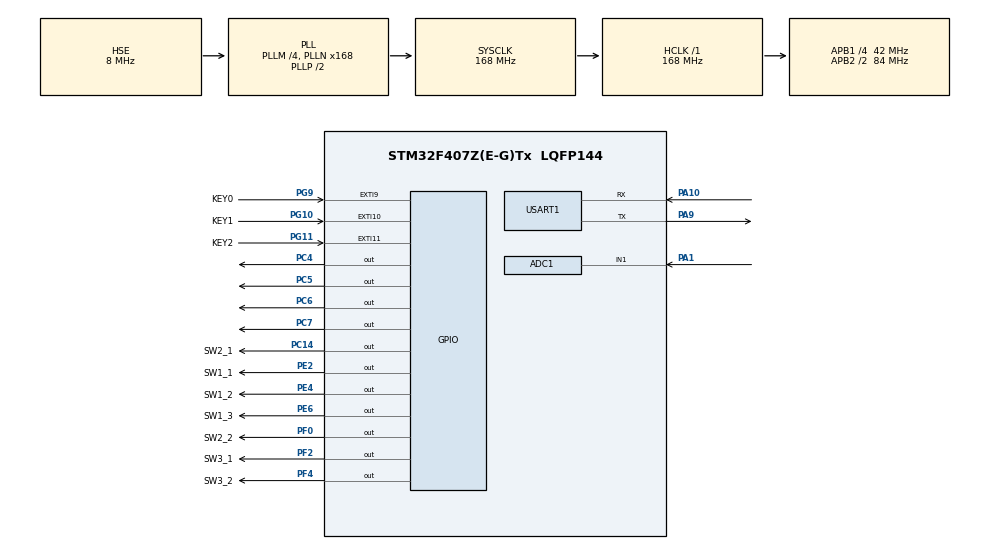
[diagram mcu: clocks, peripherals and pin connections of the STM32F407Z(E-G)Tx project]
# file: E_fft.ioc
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ADC1.Channel-0\#ChannelRegularConversion=ADC_CHANNEL_1
ADC1.ClockPrescaler=ADC_CLOCK_SYNC_PCLK_DIV4
ADC1.ContinuousConvMode=DISABLE
ADC1.DMAContinuousRequests=ENABLE
ADC1.ExternalTrigConv=ADC_EXTERNALTRIGCONV_T2_TRGO
ADC1.NbrOfConversion=1
ADC1.NbrOfConversionFlag=1
ADC1.Rank-0\#ChannelRegularConversion=1
ADC1.Resolution=ADC_RESOLUTION_12B
ADC1.SamplingTime-0\#ChannelRegularConversion=ADC_SAMPLETIME_3CYCLES
ADC1.ScanConvMode=ENABLE
ADC1.master=1
Dma.ADC1.0.Direction=DMA_PERIPH_TO_MEMORY
Dma.ADC1.0.FIFOMode=DMA_FIFOMODE_DISABLE
Dma.ADC1.0.Instance=DMA2_Stream0
Dma.ADC1.0.MemDataAlignment=DMA_MDATAALIGN_HALFWORD
Dma.ADC1.0.MemInc=DMA_MINC_ENABLE
Dma.ADC1.0.Mode=DMA_CIRCULAR
Dma.ADC1.0.PeriphDataAlignment=DMA_PDATAALIGN_HALFWORD
Dma.ADC1.0.PeriphInc=DMA_PINC_DISABLE
Dma.ADC1.0.Priority=DMA_PRIORITY_LOW
Dma.Request0=ADC1
Mcu.Family=STM32F4
Mcu.Name=STM32F407Z(E-G)Tx
Mcu.Package=LQFP144
NVIC.ADC_IRQn=true\:0\:0\:true\:false\:true\:true\:true
NVIC.DMA2_Stream0_IRQn=true\:0\:0\:false\:false\:true\:false\:true
NVIC.EXTI15_10_IRQn=true\:2\:0\:true\:false\:true\:true\:true
NVIC.EXTI9_5_IRQn=true\:2\:0\:true\:false\:true\:true\:true
NVIC.PriorityGroup=NVIC_PRIORITYGROUP_4
NVIC.TIM1_UP_TIM10_IRQn=true\:1\:0\:true\:false\:true\:true\:true
PA1.Signal=ADCx_IN1
PA10.Mode=Asynchronous
PA10.Signal=USART1_RX
PA13.Mode=Serial_Wire
PA13.Signal=SYS_JTMS-SWDIO
PA14.Mode=Serial_Wire
PA14.Signal=SYS_JTCK-SWCLK
PA9.Mode=Asynchronous
PA9.Signal=USART1_TX
PC14-OSC32_IN.GPIO_Label=SW2_1
PC14-OSC32_IN.PinState=GPIO_PIN_RESET
PC14-OSC32_IN.Signal=GPIO_Output
PC4.PinState=GPIO_PIN_SET
PC4.Signal=GPIO_Output
PC5.PinState=GPIO_PIN_RESET
PC5.Signal=GPIO_Output
PC6.PinState=GPIO_PIN_SET
PC6.Signal=GPIO_Output
PC7.PinState=GPIO_PIN_SET
PC7.Signal=GPIO_Output
PE2.GPIO_Label=SW1_1
PE2.PinState=GPIO_PIN_RESET
PE2.Signal=GPIO_Output
PE4.GPIO_Label=SW1_2
PE4.PinState=GPIO_PIN_RESET
PE4.Signal=GPIO_Output
PE6.GPIO_Label=SW1_3
PE6.PinState=GPIO_PIN_RESET
PE6.Signal=GPIO_Output
PF0.GPIO_Label=SW2_2
PF0.PinState=GPIO_PIN_RESET
PF0.Signal=GPIO_Output
PF2.GPIO_Label=SW3_1
PF2.PinState=GPIO_PIN_RESET
PF2.Signal=GPIO_Output
PF4.GPIO_Label=SW3_2
PF4.PinState=GPIO_PIN_RESET
PF4.Signal=GPIO_Output
PG10.GPIO_Label=KEY1
PG10.GPIO_ModeDefaultEXTI=GPIO_MODE_IT_FALLING
PG10.GPIO_PuPd=GPIO_PULLUP
PG10.Signal=GPXTI10
PG11.GPIO_Label=KEY2
PG11.GPIO_ModeDefaultEXTI=GPIO_MODE_IT_FALLING
PG11.GPIO_PuPd=GPIO_PULLUP
PG11.Signal=GPXTI11
PG9.GPIO_Label=KEY0
PG9.GPIO_ModeDefaultEXTI=GPIO_MODE_IT_FALLING
PG9.GPIO_PuPd=GPIO_PULLUP
PG9.Signal=GPXTI9
PH0-OSC_IN.Mode=HSE-External-Oscillator
PH0-OSC_IN.Signal=RCC_OSC_IN
PH1-OSC_OUT.Mode=HSE-External-Oscillator
PH1-OSC_OUT.Signal=RCC_OSC_OUT
ProjectManager.HeapSize=0x200
ProjectManager.StackSize=0x400
ProjectManager.TargetToolchain=MDK-ARM V5
RCC.48MHZClocksFreq_Value=84000000
RCC.AHBFreq_Value=168000000
RCC.APB1CLKDivider=RCC_HCLK_DIV4
RCC.APB1Freq_Value=42000000
RCC.APB1TimFreq_Value=84000000
RCC.APB2CLKDivider=RCC_HCLK_DIV2
RCC.APB2Freq_Value=84000000
RCC.APB2TimFreq_Value=168000000
RCC.CortexFreq_Value=168000000
RCC.HCLKFreq_Value=168000000
RCC.HSE_VALUE=8000000
RCC.HSI_VALUE=16000000
RCC.LSE_VALUE=32768
RCC.PLLM=4
RCC.PLLN=168
RCC.PLLSourceVirtual=RCC_PLLSOURCE_HSE
RCC.SYSCLKFreq_VALUE=168000000
RCC.SYSCLKSource=RCC_SYSCLKSOURCE_PLLCLK
RCC.VCOOutputFreq_Value=336000000
SH.ADCx_IN1.0=ADC1_IN1,IN1
TIM1.Period=999
TIM1.Prescaler=167
TIM2.Period=209
TIM2.Prescaler=24
TIM2.TIM_MasterOutputTrigger=TIM_TRGO_UPDATE
USART1.VirtualMode=VM_ASYNC
VP_TIM1_VS_ClockSourceINT.Mode=Internal
VP_TIM2_VS_ClockSourceINT.Mode=Internal
board=custom

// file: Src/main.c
/* USER CODE BEGIN Header */
/**
  ******************************************************************************
  * @file           : main.c
  * @brief          : Main program body
  ******************************************************************************
  * @attention
  *
  * <h2><center>&copy; Copyright (c) 2020 STMicroelectronics.
  * All rights reserved.</center></h2>
  *
  * This software component is licensed by ST under BSD 3-Clause license,
  * the "License"; You may not use this file except in compliance with the
  * License. You may obtain a copy of the License at:
  *                        opensource.org/licenses/BSD-3-Clause
  *
  ******************************************************************************
  */
/* USER CODE END Header */

#include "main.h"
#include "adc.h"
#include "dma.h"
#include "tim.h"
#include "usart.h"
#include "gpio.h"

/* USER CODE BEGIN Includes */
//#include "oled.h"
#include "arm_math.h"
#include "arm_const_structs.h"
#include "oled.h"
#include "sys.h"
#include "stdio.h"
/* USER CODE END Includes */

/* USER CODE BEGIN PV */

float32_t  	testInput_f32[NPT];	//fft输入数据
float32_t  	testOutput_f32[NPT];	//fft输出数据
float32_t  	testOutput[NPT];			//输出频谱
uint16_t	 	ADC_data[NPT] ;			//adc原始数据
uint8_t 	 	ADC_flag = 0;						//adc转换完成标志位
float32_t  	Uo[Hn+1];							//输出谐波幅值
float32_t  	THD;
uint8_t			dis_buff[20];
/* USER CODE END PV */

void SystemClock_Config(void);
/* USER CODE BEGIN PFP */

void arm_rfft_fast_f32_app(void) ;

/* USER CODE END PFP */

int main(void)
{

  /* MCU Configuration--------------------------------------------------------*/

  /* Reset of all peripherals, Initializes the Flash interface and the Systick. */
  HAL_Init();

  /* Configure the system clock */
  SystemClock_Config();

  /* Initialize all configured peripherals */
  MX_GPIO_Init();
  MX_DMA_Init();
  MX_ADC1_Init();
  MX_TIM2_Init();
  MX_USART1_UART_Init();
  MX_TIM1_Init();
  /* USER CODE BEGIN 2 */
	IIC_Init();		//初始化LED
	OLED_Init();
	HAL_TIM_Base_Start_IT(&htim1);
	HAL_TIM_Base_Start(&htim2);
	HAL_ADC_Start_DMA(&hadc1,(uint32_t *)ADC_data,1024);
	SW_Control(state_Array[0]);
//	arm_rfft_fast_f32_app();

	OLED_Refresh();//更新oled缓存
  /* USER CODE END 2 */

  /* Infinite loop */
  /* USER CODE BEGIN WHILE */
  while(1)
  {
//		PGout(4) = 0;
//		HAL_Delay(10);
//		PGout(4) = 1;
//		HAL_Delay(10);
    /* USER CODE END WHILE */

    /* USER CODE BEGIN 3 */
		display_distort (state);
		OLED_Refresh();//更新oled缓存
		if(ADC_flag == 1)
		{
			for (int x=0;x < 1024; x++)
			{
				testInput_f32[x] = (float)(ADC_data[x]*3.3/4096);
//				printf("%f\r\n",testInput_f32[x]);
			}
			arm_rfft_fast_f32_app();
			snprintf(dis_buff,sizeof(dis_buff),"THD:%2.2f%%   ",THD*100);
			OLED_ShowString(0,0,dis_buff,16);
			ADC_flag = 0;
		}
		else if(ADC_flag == 2)
		{
			HAL_TIM_Base_Start(&htim2);
			HAL_ADC_Start_DMA(&hadc1,(uint32_t *)ADC_data,1024);
		}
	}

  /* USER CODE END 3 */
}

void SystemClock_Config(void)
{
  RCC_OscInitTypeDef RCC_OscInitStruct = {0};
  RCC_ClkInitTypeDef RCC_ClkInitStruct = {0};

  /** Configure the main internal regulator output voltage
  */
  __HAL_RCC_PWR_CLK_ENABLE();
  __HAL_PWR_VOLTAGESCALING_CONFIG(PWR_REGULATOR_VOLTAGE_SCALE1);
  /** Initializes the CPU, AHB and APB busses clocks
  */
  RCC_OscInitStruct.OscillatorType = RCC_OSCILLATORTYPE_HSE;
  RCC_OscInitStruct.HSEState = RCC_HSE_ON;
  RCC_OscInitStruct.PLL.PLLState = RCC_PLL_ON;
  RCC_OscInitStruct.PLL.PLLSource = RCC_PLLSOURCE_HSE;
  RCC_OscInitStruct.PLL.PLLM = 4;
  RCC_OscInitStruct.PLL.PLLN = 168;
  RCC_OscInitStruct.PLL.PLLP = RCC_PLLP_DIV2;
  RCC_OscInitStruct.PLL.PLLQ = 4;
  if (HAL_RCC_OscConfig(&RCC_OscInitStruct) != HAL_OK)
  {
    Error_Handler();
  }
  /** Initializes the CPU, AHB and APB busses clocks
  */
  RCC_ClkInitStruct.ClockType = RCC_CLOCKTYPE_HCLK|RCC_CLOCKTYPE_SYSCLK
                              |RCC_CLOCKTYPE_PCLK1|RCC_CLOCKTYPE_PCLK2;
  RCC_ClkInitStruct.SYSCLKSource = RCC_SYSCLKSOURCE_PLLCLK;
  RCC_ClkInitStruct.AHBCLKDivider = RCC_SYSCLK_DIV1;
  RCC_ClkInitStruct.APB1CLKDivider = RCC_HCLK_DIV4;
  RCC_ClkInitStruct.APB2CLKDivider = RCC_HCLK_DIV2;

  if (HAL_RCC_ClockConfig(&RCC_ClkInitStruct, FLASH_LATENCY_5) != HAL_OK)
  {
    Error_Handler();
  }
}

/* USER CODE BEGIN 4 */
int n;
void HAL_TIM_PeriodElapsedCallback(TIM_HandleTypeDef *htim)
{
	if(htim == &htim1)
	{
		n++;
		if(n == 500)
		{
			HAL_GPIO_TogglePin(GPIOC,GPIO_PIN_7);
			if(ADC_flag == 0)
			{
				ADC_flag = 2;
			}
			n = 0;
		}
	}
}

void HAL_ADC_ConvCpltCallback(ADC_HandleTypeDef* hadc)
{
    if(hadc == &hadc1)//ADC采集中断
    {
        HAL_TIM_Base_Stop(&htim2);//启动定时器
        HAL_ADC_Stop_DMA(&hadc1);
        ADC_flag = 1;
    }
}

void arm_rfft_fast_f32_app(void)
{
  uint16_t i;
	uint16_t j;
	uint16_t k;
	float distort_comp = 0;	//失真度算法补偿

  arm_rfft_fast_instance_f32 S;

  /* 实数序列FFT长度 */
  uint16_t fftSize = NPT;
  /* 正变换 */
  uint8_t ifftFlag = 0;
  /* 初始化结构体S中的参数 */
  arm_rfft_fast_init_f32(&S, fftSize);
  arm_rfft_fast_f32(&S, testInput_f32, testOutput_f32, ifftFlag); //实序列fft
  arm_cmplx_mag_f32(testOutput_f32, testOutput, fftSize);
	Uo[0] = testOutput[0]/1024;
	printf("Uo%d = %f\r\n",0,Uo[0]);
	for(int y = 1;y < Hn+1;y++)
	{
		Uo[y] =  testOutput[PD*y]/512;
		Uo[y] = Uo[y]*Uo[y];
//		printf("Uo%d = %f\r\n",y ,Uo[y]); //输出谐波处的数值
	}
	THD = sqrtf((Uo[2] + Uo[3] + Uo[4] + Uo[5])/Uo[1]);
	switch(state)
	{
		case 0:		//无失真
		{
			distort_comp = 0.0003;
		}break;
		case 1:		//顶部失真
		{
			distort_comp = -0.01;
		}break;
		case 2:		//底部失真
		{
			distort_comp = -0.01;
		}break;
		case 3:		//双向失真
		{
			distort_comp = -0.02;
		}break;
		case 4:		//交越失真
		{
			distort_comp = 0.0;
		}
	}
//	THD = THD - distort_comp;
//	printf("分划线---------------------------------------\r\n");
//  for(i=0; i<fftSize/2; i++)
//  {
//    printf("%f\r\n", testOutput[i]);
//  }
	printf("THD = %f\r\n",THD);

}

void display_distort (uint8_t state)
{
	switch(state)
	{
		case 0:
		{
		OLED_ShowChinese(0,16,0,16);			//无
		OLED_ShowChinese(16,16,11,16);		//失
		OLED_ShowChinese(32,16,12,16);		//真
		OLED_ShowString(48,16,"  ",16);		//
		}break;
		case 1:
		{
		OLED_ShowChinese(0,16,3,16);			//顶
		OLED_ShowChinese(16,16,4,16);			//部
		OLED_ShowChinese(32,16,11,16);		//失
		OLED_ShowChinese(48,16,12,16);		//真
		}break;
		case 2:
		{
		OLED_ShowChinese(0,16,5,16);			//底
		OLED_ShowChinese(16,16,4,16);			//部
		OLED_ShowChinese(32,16,11,16);		//失
		OLED_ShowChinese(48,16,12,16);		//真
		}break;
		case 3:
		{
		OLED_ShowChinese(0,16,7,16);			//双
		OLED_ShowChinese(16,16,8,16);			//向
		OLED_ShowChinese(32,16,11,16);		//失
		OLED_ShowChinese(48,16,12,16);		//真
		}break;
		case 4:
		{
		OLED_ShowChinese(0,16,9,16);			//交
		OLED_ShowChinese(16,16,10,16);		//越
		OLED_ShowChinese(32,16,11,16);		//失
		OLED_ShowChinese(48,16,12,16);		//真
		}
	}
}

/* USER CODE END 4 */

void Error_Handler(void)
{
}

/************************ (C) COPYRIGHT STMicroelectronics *****END OF FILE****/
